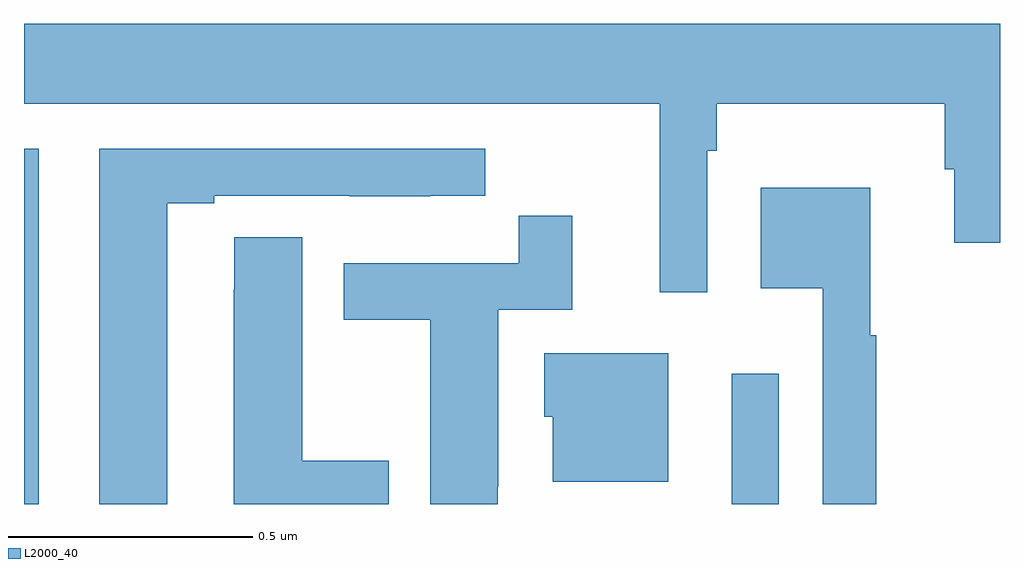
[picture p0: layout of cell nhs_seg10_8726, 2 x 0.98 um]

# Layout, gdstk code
import gdstk
lib = gdstk.Library(unit=1e-6, precision=1e-09)
def R(c, l, rs):  # rectangles x0, y0, x1, y1
    for r in rs: c.add(gdstk.rectangle(r[:2], r[2:], *l))
def P(c, l, *ps):  # polygons
    for p in ps: c.add(gdstk.Polygon(p, *l))
L2000_40 = (2000, 40)

nhs_seg10_8726 = lib.new_cell('nhs_seg10_8726')
R(nhs_seg10_8726, L2000_40, [(220,1295.5,220.03,1296.228), (221.45,1295.5,221.547,1295.767)])
P(nhs_seg10_8726, L2000_40, [(221.4,1296.224),(221.42,1296.224),(221.42,1296.32),(221.887,1296.32),(221.887,1296.186),(221.906,1296.186),(221.906,1296.036),(222,1296.036),(222,1296.484),(220,1296.484),(220,1296.32),(221.303,1296.32),(221.303,1295.934),(221.4,1295.934)],
  [(220.294,1296.117),(220.39,1296.117),(220.39,1296.132),(220.666,1296.132),(220.666,1296.131),(220.832,1296.131),(220.832,1296.132),(220.945,1296.132),(220.945,1296.228),(220.154,1296.228),(220.154,1295.5),(220.294,1295.5)],
  [(221.746,1295.846),(221.734,1295.846),(221.734,1296.148),(221.51,1296.148),(221.51,1295.942),(221.637,1295.942),(221.637,1295.5),(221.746,1295.5)],
  [(220.971,1295.536),(220.972,1295.536),(220.972,1295.898),(221.123,1295.898),(221.123,1296.091),(221.014,1296.091),(221.014,1295.994),(220.655,1295.994),(220.655,1295.878),(220.832,1295.878),(220.832,1295.5),(220.971,1295.5)],
  [(220.747,1295.589),(220.57,1295.589),(220.57,1296.047),(220.431,1296.047),(220.431,1295.939),(220.43,1295.939),(220.43,1295.5),(220.747,1295.5)],
  [(221.32,1295.809),(221.066,1295.809),(221.066,1295.679),(221.084,1295.679),(221.084,1295.546),(221.32,1295.546)])

lib.write_gds('nhs_seg10_8726.gds')
